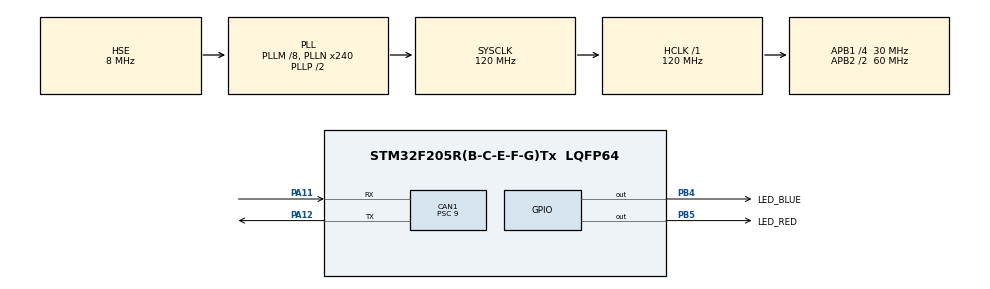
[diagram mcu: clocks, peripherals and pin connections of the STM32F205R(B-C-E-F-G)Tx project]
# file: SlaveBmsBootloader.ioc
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CAN1.BS1=CAN_BS1_9TQ
CAN1.BS2=CAN_BS2_4TQ
CAN1.CalculateTimeQuantum=300.0
CAN1.Prescaler=9
Mcu.Family=STM32F2
Mcu.Name=STM32F205R(B-C-E-F-G)Tx
Mcu.Package=LQFP64
NVIC.CAN1_RX0_IRQn=true\:6\:0\:true\:false\:true\:true\:true
NVIC.CAN1_RX1_IRQn=true\:7\:0\:true\:false\:true\:true\:true
NVIC.CAN1_SCE_IRQn=true\:9\:0\:true\:false\:true\:true\:true
NVIC.CAN1_TX_IRQn=true\:0\:0\:false\:false\:true\:true\:true
NVIC.FLASH_IRQn=true\:11\:0\:true\:false\:true\:true\:true
NVIC.PVD_IRQn=true\:12\:0\:true\:false\:true\:true\:true
NVIC.PriorityGroup=NVIC_PRIORITYGROUP_4
NVIC.RCC_IRQn=true\:10\:0\:true\:false\:true\:true\:false
PA0-WKUP.Mode=SYS_WakeUp0
PA0-WKUP.Signal=SYS_WKUP
PA11.Mode=Master
PA11.Signal=CAN1_RX
PA12.Mode=Master
PA12.Signal=CAN1_TX
PA13.Mode=Trace_Asynchronous_SW
PA13.Signal=SYS_JTMS-SWDIO
PA14.Mode=Trace_Asynchronous_SW
PA14.Signal=SYS_JTCK-SWCLK
PB3.Mode=Trace_Asynchronous_SW
PB3.Signal=SYS_JTDO-SWO
PB4.GPIO_Label=LED_BLUE
PB4.Signal=GPIO_Output
PB5.GPIO_Label=LED_RED
PB5.Signal=GPIO_Output
PH0-OSC_IN.Mode=HSE-External-Oscillator
PH0-OSC_IN.Signal=RCC_OSC_IN
PH1-OSC_OUT.Mode=HSE-External-Oscillator
PH1-OSC_OUT.Signal=RCC_OSC_OUT
ProjectManager.HeapSize=0x200
ProjectManager.StackSize=0x400
ProjectManager.TargetToolchain=MDK-ARM V5
RCC.48MHZClocksFreq_Value=60000000
RCC.AHBFreq_Value=120000000
RCC.APB1CLKDivider=RCC_HCLK_DIV4
RCC.APB1Freq_Value=30000000
RCC.APB1TimFreq_Value=60000000
RCC.APB2CLKDivider=RCC_HCLK_DIV2
RCC.APB2Freq_Value=60000000
RCC.APB2TimFreq_Value=120000000
RCC.CortexFreq_Value=120000000
RCC.HCLKFreq_Value=120000000
RCC.HSE_VALUE=8000000
RCC.HSI_VALUE=16000000
RCC.LSE_VALUE=32768
RCC.PLLM=8
RCC.PLLN=240
RCC.PLLSourceVirtual=RCC_PLLSOURCE_HSE
RCC.SYSCLKFreq_VALUE=120000000
RCC.SYSCLKSource=RCC_SYSCLKSOURCE_PLLCLK
RCC.VCOOutputFreq_Value=240000000
VP_CRC_VS_CRC.Mode=CRC_Activate
board=custom

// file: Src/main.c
/* USER CODE BEGIN Header */
/**
  ******************************************************************************
  * @file           : main.c
  * @brief          : Main program body
  ******************************************************************************
  * @attention
  *
  * <h2><center>&copy; Copyright (c) 2019 STMicroelectronics.
  * All rights reserved.</center></h2>
  *
  * This software component is licensed by ST under BSD 3-Clause license,
  * the "License"; You may not use this file except in compliance with the
  * License. You may obtain a copy of the License at:
  *                        opensource.org/licenses/BSD-3-Clause
  *
  ******************************************************************************
  */
/* USER CODE END Header */

#include "main.h"
#include "can.h"
#include "crc.h"
#include "gpio.h"

/* USER CODE BEGIN Includes */
#include <string.h>

#define  WAIT_HOST    0
#define IDLE        1
#define PAGE_PROG    2

// Flash configuration
#define MAIN_PROGRAM_START_ADDRESS              (uint32_t)0x08002000
#define BOOTLOADER_PROGRAM_START_ADDRESS        (uint32_t)0x08000000
#define MAIN_PROGRAM_PAGE_NUMBER                8
#define NUM_OF_PAGES                            (64)

// CAN identifiers
#define DEVICE_CAN_ID                            0x78E
#define CMD_HOST_INIT                            0x01
#define CMD_PAGE_PROG                            0x02
#define CMD_BOOT                                0x03

#define CAN_RESP_OK                              0x01
#define CAN_RESP_ERROR                          0x02

#define FLASH_PAGE_SIZE          ((uint32_t)0x400)
/* USER CODE END Includes */

/* USER CODE BEGIN PV */
/* Private variables ---------------------------------------------------------*/
static CanTxMsgTypeDef        canTxMessage;
static CanRxMsgTypeDef        canRxMessage;
static FLASH_EraseInitTypeDef eraseInitStruct;

uint8_t                       PageBuffer[FLASH_PAGE_SIZE];
volatile int                  PageBufferPtr;
uint8_t                       PageIndex;
int                           PageCRC;

volatile uint8_t              blState;
/* USER CODE END PV */

void SystemClock_Config(void);

/* USER CODE BEGIN 0 */
void JumpToApplication()
{
	//объявляем пользовательский тип
	typedef void (*pFunction)(void);
	//и создаём переменную этого типа
	pFunction JumpAddress;
	// извлекаем адрес перехода из вектора Reset
  // и приводим его к пользовательскому типу
  JumpAddress = *(__IO pFunction*)(MAIN_PROGRAM_START_ADDRESS + 4);
  //устанавливаем SP приложения
  __set_MSP(*(__IO uint32_t*) MAIN_PROGRAM_START_ADDRESS);
  HAL_DeInit();
	// Для того, чтобы при переходе в основную программу
	// мы могли работать с векторами прерываний их надо перенести
	// либо перед прыжком в основную программу, либо в начале основной программы.
//	__set_PRIMASK(1); //запрещаем прерывания
//  SCB->VTOR = MAIN_PROGRAM_START_ADDRESS;//переносим начало вектора прерываний по указанному адресу
//  __set_PRIMASK(0);//разрешаем прерывания
	// переход в основную программу
  JumpAddress();
}

void TransmitResponsePacket(uint8_t response)
{
  hcan1.pTxMsg->StdId = DEVICE_CAN_ID;
  hcan1.pTxMsg->DLC = 1;
  hcan1.pTxMsg->Data[0] = response;
  HAL_CAN_Transmit(&hcan1,1);
}

void HAL_CAN_RxCpltCallback(CAN_HandleTypeDef* CanHandle)
{
  // Skip messages not intended for our device
  if (CanHandle->pRxMsg->StdId != DEVICE_CAN_ID && CanHandle->pRxMsg->ExtId != DEVICE_CAN_ID) {
    HAL_CAN_Receive_IT(&hcan1, CAN_FIFO0);
    return;
  }

  if (blState == PAGE_PROG)
  {
    memcpy(&PageBuffer[PageBufferPtr],
      CanHandle->pRxMsg->Data,
      CanHandle->pRxMsg->DLC);
    PageBufferPtr += CanHandle->pRxMsg->DLC;

    if (PageBufferPtr == FLASH_PAGE_SIZE) {
      HAL_NVIC_DisableIRQ(CAN1_TX_IRQn);
      HAL_NVIC_DisableIRQ(CAN1_RX0_IRQn);
      HAL_NVIC_DisableIRQ(CAN1_RX1_IRQn);
      HAL_NVIC_DisableIRQ(CAN1_SCE_IRQn);

      HAL_GPIO_TogglePin(LED_RED_GPIO_Port, LED_RED_Pin);
      uint32_t crc = HAL_CRC_Calculate(&hcrc, (uint32_t*)PageBuffer, FLASH_PAGE_SIZE / 4);

      //if (crc == PageCRC && PageIndex <= NUM_OF_PAGES)
			if (PageIndex <= NUM_OF_PAGES)
      {
        HAL_FLASH_Unlock();

        uint32_t PageError = 0;

        eraseInitStruct.TypeErase = FLASH_TYPEERASE_SECTORS;
        eraseInitStruct.Sector = BOOTLOADER_PROGRAM_START_ADDRESS + PageIndex * FLASH_PAGE_SIZE;
        eraseInitStruct.NbSectors = 1;

        HAL_FLASHEx_Erase(&eraseInitStruct, &PageError);

        for (int i = 0; i < FLASH_PAGE_SIZE; i += 4)
        {
          HAL_FLASH_Program(TYPEPROGRAM_WORD, BOOTLOADER_PROGRAM_START_ADDRESS + PageIndex * FLASH_PAGE_SIZE + i, *(uint32_t*)&PageBuffer[i]);
        }

        HAL_FLASH_Lock();

        TransmitResponsePacket(CAN_RESP_OK);
      }
      else
      {
        TransmitResponsePacket(CAN_RESP_ERROR);
      }

      blState = IDLE;

			HAL_NVIC_EnableIRQ(CAN1_TX_IRQn);
			HAL_NVIC_EnableIRQ(CAN1_RX0_IRQn);
			HAL_NVIC_EnableIRQ(CAN1_RX1_IRQn);
			HAL_NVIC_EnableIRQ(CAN1_SCE_IRQn);
    }

    HAL_GPIO_TogglePin(LED_BLUE_GPIO_Port, LED_BLUE_Pin);
    HAL_CAN_Receive_IT(&hcan1, CAN_FIFO0);
    return;
  }

  switch(CanHandle->pRxMsg->Data[0])
  {
    case CMD_HOST_INIT:
      blState = IDLE;
      TransmitResponsePacket(CAN_RESP_OK);
      break;
    case CMD_PAGE_PROG:
      if (blState == IDLE) {
				// очищает страницу
        memset(PageBuffer, 0, FLASH_PAGE_SIZE);
				//контрольная сумма
        memcpy(&PageCRC, &CanHandle->pRxMsg->Data[2], sizeof(int));
				// номер страницы
        PageIndex = CanHandle->pRxMsg->Data[1] + MAIN_PROGRAM_PAGE_NUMBER;
        blState = PAGE_PROG;
        PageBufferPtr = 0;
      } else {
        // Should never get here
      }
      break;
    case CMD_BOOT:
      TransmitResponsePacket(CAN_RESP_OK);
      JumpToApplication();
      break;
    default:
      break;
  }

  HAL_GPIO_TogglePin(LED_BLUE_GPIO_Port, LED_BLUE_Pin);
  HAL_CAN_Receive_IT(&hcan1, CAN_FIFO0);
}
/* USER CODE END 0 */

int main(void)
{

  /* MCU Configuration----------------------------------------------------------*/

  /* Reset of all peripherals, Initializes the Flash interface and the Systick. */
  HAL_Init();

  /* Configure the system clock */
  SystemClock_Config();

  /* Initialize all configured peripherals */
  MX_GPIO_Init();
  MX_CAN1_Init();
  MX_CRC_Init();

  /* USER CODE BEGIN 2 */
  hcan1.pTxMsg = &canTxMessage;
  hcan1.pRxMsg = &canRxMessage;

  CAN_FilterConfTypeDef canFilterConfig;
  canFilterConfig.FilterNumber = 0;
  canFilterConfig.FilterMode = CAN_FILTERMODE_IDMASK;
  canFilterConfig.FilterScale = CAN_FILTERSCALE_32BIT;
  canFilterConfig.FilterIdHigh = 0x0000;
  canFilterConfig.FilterIdLow = 0x0000;
  canFilterConfig.FilterMaskIdHigh = 0x0000 << 5;
  canFilterConfig.FilterMaskIdLow = 0x0000;
  canFilterConfig.FilterFIFOAssignment = 0;
  canFilterConfig.FilterActivation = ENABLE;
  canFilterConfig.BankNumber = 1;
  HAL_CAN_ConfigFilter(&hcan1, &canFilterConfig);

  HAL_GPIO_WritePin(LED_RED_GPIO_Port, LED_RED_Pin, GPIO_PIN_SET);
	HAL_GPIO_WritePin(LED_BLUE_GPIO_Port, LED_BLUE_Pin, GPIO_PIN_SET);

  HAL_CAN_Receive_IT(&hcan1, CAN_FIFO0);
  HAL_Delay(5000);

  HAL_GPIO_WritePin(LED_RED_GPIO_Port, LED_RED_Pin, GPIO_PIN_RESET);
  HAL_GPIO_WritePin(LED_BLUE_GPIO_Port, LED_BLUE_Pin, GPIO_PIN_RESET);

  // Timed out waiting for host
  if (blState == WAIT_HOST) {
    JumpToApplication();
  }
  /* USER CODE END 2 */

  /* Infinite loop */
  while (1)
  {

  }
}

void SystemClock_Config(void)
{
  RCC_OscInitTypeDef RCC_OscInitStruct = {0};
  RCC_ClkInitTypeDef RCC_ClkInitStruct = {0};

  /** Initializes the CPU, AHB and APB busses clocks
  */
  RCC_OscInitStruct.OscillatorType = RCC_OSCILLATORTYPE_HSE;
  RCC_OscInitStruct.HSEState = RCC_HSE_ON;
  RCC_OscInitStruct.PLL.PLLState = RCC_PLL_ON;
  RCC_OscInitStruct.PLL.PLLSource = RCC_PLLSOURCE_HSE;
  RCC_OscInitStruct.PLL.PLLM = 8;
  RCC_OscInitStruct.PLL.PLLN = 240;
  RCC_OscInitStruct.PLL.PLLP = RCC_PLLP_DIV2;
  RCC_OscInitStruct.PLL.PLLQ = 4;
  if (HAL_RCC_OscConfig(&RCC_OscInitStruct) != HAL_OK)
  {
    Error_Handler();
  }
  /** Initializes the CPU, AHB and APB busses clocks
  */
  RCC_ClkInitStruct.ClockType = RCC_CLOCKTYPE_HCLK|RCC_CLOCKTYPE_SYSCLK
                              |RCC_CLOCKTYPE_PCLK1|RCC_CLOCKTYPE_PCLK2;
  RCC_ClkInitStruct.SYSCLKSource = RCC_SYSCLKSOURCE_PLLCLK;
  RCC_ClkInitStruct.AHBCLKDivider = RCC_SYSCLK_DIV1;
  RCC_ClkInitStruct.APB1CLKDivider = RCC_HCLK_DIV4;
  RCC_ClkInitStruct.APB2CLKDivider = RCC_HCLK_DIV2;

  if (HAL_RCC_ClockConfig(&RCC_ClkInitStruct, FLASH_LATENCY_3) != HAL_OK)
  {
    Error_Handler();
  }
}

void Error_Handler(void)
{
}

/************************ (C) COPYRIGHT STMicroelectronics *****END OF FILE****/
